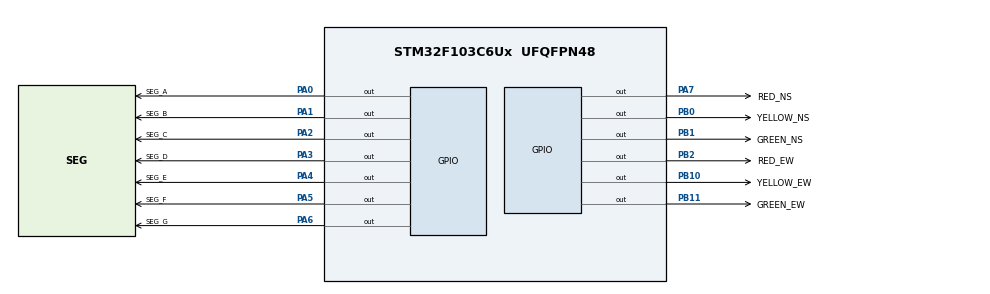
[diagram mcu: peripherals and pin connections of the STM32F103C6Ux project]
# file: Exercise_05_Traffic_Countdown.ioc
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Mcu.Family=STM32F1
Mcu.Name=STM32F103C6Ux
Mcu.Package=UFQFPN48
NVIC.PriorityGroup=NVIC_PRIORITYGROUP_4
PA0-WKUP.GPIO_Label=SEG_A
PA0-WKUP.Signal=GPIO_Output
PA1.GPIO_Label=SEG_B
PA1.Signal=GPIO_Output
PA2.GPIO_Label=SEG_C
PA2.Signal=GPIO_Output
PA3.GPIO_Label=SEG_D
PA3.Signal=GPIO_Output
PA4.GPIO_Label=SEG_E
PA4.Signal=GPIO_Output
PA5.GPIO_Label=SEG_F
PA5.Signal=GPIO_Output
PA6.GPIO_Label=SEG_G
PA6.Signal=GPIO_Output
PA7.GPIO_Label=RED_NS
PA7.Signal=GPIO_Output
PB0.GPIO_Label=YELLOW_NS
PB0.Signal=GPIO_Output
PB1.GPIO_Label=GREEN_NS
PB1.Signal=GPIO_Output
PB10.GPIO_Label=YELLOW_EW
PB10.Signal=GPIO_Output
PB11.GPIO_Label=GREEN_EW
PB11.Signal=GPIO_Output
PB2.GPIO_Label=RED_EW
PB2.Signal=GPIO_Output
ProjectManager.HeapSize=0x200
ProjectManager.StackSize=0x400
ProjectManager.TargetToolchain=Makefile
RCC.APB1Freq_Value=8000000
RCC.APB2Freq_Value=8000000
VP_SYS_VS_ND.Mode=No_Debug
board=custom

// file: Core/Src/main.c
/* USER CODE BEGIN Header */
/**
  ******************************************************************************
  * @file           : main.c
  * @brief          : Main program body
  ******************************************************************************
  * @attention
  *
  * Copyright (c) 2026 STMicroelectronics.
  * All rights reserved.
  *
  * This software is licensed under terms that can be found in the LICENSE file
  * in the root directory of this software component.
  * If no LICENSE file comes with this software, it is provided AS-IS.
  *
  ******************************************************************************
  */
/* USER CODE END Header */
#include "main.h"

void SystemClock_Config(void);
static void MX_GPIO_Init(void);

/* USER CODE BEGIN 0 */

/* =========================
        7 SEGMENT
   ========================= */

void Display_Number(uint8_t num)
{
    uint8_t seg[10][7] =
    {
        // A B C D E F G
        {0,0,0,0,0,0,1}, //0
        {1,0,0,1,1,1,1}, //1
        {0,0,1,0,0,1,0}, //2
        {0,0,0,0,1,1,0}, //3
        {1,0,0,1,1,0,0}, //4
        {0,1,0,0,1,0,0}, //5
        {0,1,0,0,0,0,0}, //6
        {0,0,0,1,1,1,1}, //7
        {0,0,0,0,0,0,0}, //8
        {0,0,0,0,1,0,0}  //9
    };

    HAL_GPIO_WritePin(SEG_A_GPIO_Port, SEG_A_Pin, seg[num][0]);
    HAL_GPIO_WritePin(SEG_B_GPIO_Port, SEG_B_Pin, seg[num][1]);
    HAL_GPIO_WritePin(SEG_C_GPIO_Port, SEG_C_Pin, seg[num][2]);
    HAL_GPIO_WritePin(SEG_D_GPIO_Port, SEG_D_Pin, seg[num][3]);
    HAL_GPIO_WritePin(SEG_E_GPIO_Port, SEG_E_Pin, seg[num][4]);
    HAL_GPIO_WritePin(SEG_F_GPIO_Port, SEG_F_Pin, seg[num][5]);
    HAL_GPIO_WritePin(SEG_G_GPIO_Port, SEG_G_Pin, seg[num][6]);
}

/* =========================
        TRAFFIC LIGHT
   ========================= */

void All_Lights_Off(void)
{
    // Active LOW
    // SET = OFF

    HAL_GPIO_WritePin(RED_NS_GPIO_Port, RED_NS_Pin, GPIO_PIN_SET);

    HAL_GPIO_WritePin(YELLOW_NS_GPIO_Port, YELLOW_NS_Pin, GPIO_PIN_SET);

    HAL_GPIO_WritePin(GREEN_NS_GPIO_Port, GREEN_NS_Pin, GPIO_PIN_SET);

    HAL_GPIO_WritePin(RED_EW_GPIO_Port, RED_EW_Pin, GPIO_PIN_SET);

    HAL_GPIO_WritePin(YELLOW_EW_GPIO_Port, YELLOW_EW_Pin, GPIO_PIN_SET);

    HAL_GPIO_WritePin(GREEN_EW_GPIO_Port, GREEN_EW_Pin, GPIO_PIN_SET);
}

void NS_Green(void)
{
    All_Lights_Off();

    HAL_GPIO_WritePin(
        GREEN_NS_GPIO_Port,
        GREEN_NS_Pin,
        GPIO_PIN_RESET);

    HAL_GPIO_WritePin(
        RED_EW_GPIO_Port,
        RED_EW_Pin,
        GPIO_PIN_RESET);
}

void NS_Yellow(void)
{
    All_Lights_Off();

    HAL_GPIO_WritePin(
        YELLOW_NS_GPIO_Port,
        YELLOW_NS_Pin,
        GPIO_PIN_RESET);

    HAL_GPIO_WritePin(
        RED_EW_GPIO_Port,
        RED_EW_Pin,
        GPIO_PIN_RESET);
}

void EW_Green(void)
{
    All_Lights_Off();

    HAL_GPIO_WritePin(
        RED_NS_GPIO_Port,
        RED_NS_Pin,
        GPIO_PIN_RESET);

    HAL_GPIO_WritePin(
        GREEN_EW_GPIO_Port,
        GREEN_EW_Pin,
        GPIO_PIN_RESET);
}

void EW_Yellow(void)
{
    All_Lights_Off();

    HAL_GPIO_WritePin(
        RED_NS_GPIO_Port,
        RED_NS_Pin,
        GPIO_PIN_RESET);

    HAL_GPIO_WritePin(
        YELLOW_EW_GPIO_Port,
        YELLOW_EW_Pin,
        GPIO_PIN_RESET);
}

/* USER CODE END 0 */

int main(void)
{

  /* MCU Configuration--------------------------------------------------------*/

  /* Reset of all peripherals, Initializes the Flash interface and the Systick. */
  HAL_Init();

  /* Configure the system clock */
  SystemClock_Config();

  /* Initialize all configured peripherals */
  MX_GPIO_Init();
  /* USER CODE BEGIN 2 */

  All_Lights_Off();

  Display_Number(0);

/* USER CODE END 2 */

  /* Infinite loop */
  /* USER CODE BEGIN WHILE */
  while (1)
  {

      // =====================
      // NS GREEN - 3 seconds
      // =====================

      NS_Green();

      for(int i = 3; i >= 0; i--)
      {
          Display_Number(i);
          HAL_Delay(1000);
      }

      // =====================
      // NS YELLOW - 2 seconds
      // =====================

      NS_Yellow();

      for(int i = 2; i >= 0; i--)
      {
          Display_Number(i);
          HAL_Delay(1000);
      }

      // =====================
      // NS RED - 7 seconds
      // EW GREEN/YELLOW
      // =====================

      // EW green phase (NS red)
      EW_Green();

      for(int i = 6; i >= 3; i--)
      {
          Display_Number(i);
          HAL_Delay(1000);
      }

      // EW yellow phase (NS red)
      EW_Yellow();

      for(int i = 2; i >= 0; i--)
      {
          Display_Number(i);
          HAL_Delay(1000);
      }

}
  /* USER CODE END 3 */
}

void SystemClock_Config(void)
{
  RCC_OscInitTypeDef RCC_OscInitStruct = {0};
  RCC_ClkInitTypeDef RCC_ClkInitStruct = {0};

  /** Initializes the RCC Oscillators according to the specified parameters
  * in the RCC_OscInitTypeDef structure.
  */
  RCC_OscInitStruct.OscillatorType = RCC_OSCILLATORTYPE_HSI;
  RCC_OscInitStruct.HSIState = RCC_HSI_ON;
  RCC_OscInitStruct.HSICalibrationValue = RCC_HSICALIBRATION_DEFAULT;
  RCC_OscInitStruct.PLL.PLLState = RCC_PLL_NONE;
  if (HAL_RCC_OscConfig(&RCC_OscInitStruct) != HAL_OK)
  {
    Error_Handler();
  }

  /** Initializes the CPU, AHB and APB buses clocks
  */
  RCC_ClkInitStruct.ClockType = RCC_CLOCKTYPE_HCLK|RCC_CLOCKTYPE_SYSCLK
                              |RCC_CLOCKTYPE_PCLK1|RCC_CLOCKTYPE_PCLK2;
  RCC_ClkInitStruct.SYSCLKSource = RCC_SYSCLKSOURCE_HSI;
  RCC_ClkInitStruct.AHBCLKDivider = RCC_SYSCLK_DIV1;
  RCC_ClkInitStruct.APB1CLKDivider = RCC_HCLK_DIV1;
  RCC_ClkInitStruct.APB2CLKDivider = RCC_HCLK_DIV1;

  if (HAL_RCC_ClockConfig(&RCC_ClkInitStruct, FLASH_LATENCY_0) != HAL_OK)
  {
    Error_Handler();
  }
}

static void MX_GPIO_Init(void)
{
  GPIO_InitTypeDef GPIO_InitStruct = {0};

  /* GPIO Ports Clock Enable */
  __HAL_RCC_GPIOA_CLK_ENABLE();
  __HAL_RCC_GPIOB_CLK_ENABLE();

  /*Configure GPIO pin Output Level */
  HAL_GPIO_WritePin(GPIOA, SEG_A_Pin|SEG_B_Pin|SEG_C_Pin|SEG_D_Pin
                          |SEG_E_Pin|SEG_F_Pin|SEG_G_Pin|RED_NS_Pin, GPIO_PIN_RESET);

  /*Configure GPIO pin Output Level */
  HAL_GPIO_WritePin(GPIOB, YELLOW_NS_Pin|GREEN_NS_Pin|RED_EW_Pin|YELLOW_EW_Pin
                          |GREEN_EW_Pin, GPIO_PIN_RESET);

  /*Configure GPIO pins : SEG_A_Pin SEG_B_Pin SEG_C_Pin SEG_D_Pin
                           SEG_E_Pin SEG_F_Pin SEG_G_Pin RED_NS_Pin */
  GPIO_InitStruct.Pin = SEG_A_Pin|SEG_B_Pin|SEG_C_Pin|SEG_D_Pin
                          |SEG_E_Pin|SEG_F_Pin|SEG_G_Pin|RED_NS_Pin;
  GPIO_InitStruct.Mode = GPIO_MODE_OUTPUT_PP;
  GPIO_InitStruct.Pull = GPIO_NOPULL;
  GPIO_InitStruct.Speed = GPIO_SPEED_FREQ_LOW;
  HAL_GPIO_Init(GPIOA, &GPIO_InitStruct);

  /*Configure GPIO pins : YELLOW_NS_Pin GREEN_NS_Pin RED_EW_Pin YELLOW_EW_Pin
                           GREEN_EW_Pin */
  GPIO_InitStruct.Pin = YELLOW_NS_Pin|GREEN_NS_Pin|RED_EW_Pin|YELLOW_EW_Pin
                          |GREEN_EW_Pin;
  GPIO_InitStruct.Mode = GPIO_MODE_OUTPUT_PP;
  GPIO_InitStruct.Pull = GPIO_NOPULL;
  GPIO_InitStruct.Speed = GPIO_SPEED_FREQ_LOW;
  HAL_GPIO_Init(GPIOB, &GPIO_InitStruct);

}

void Error_Handler(void)
{
  __disable_irq();
  while (1)
  {
  }
}
